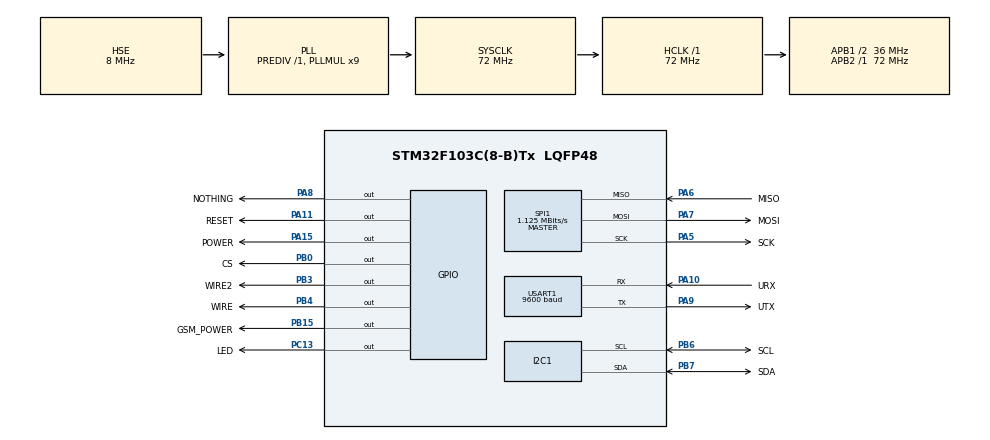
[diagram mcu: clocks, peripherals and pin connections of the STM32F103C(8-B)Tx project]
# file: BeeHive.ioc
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I2C1.I2C_Mode=I2C_Fast
Mcu.Family=STM32F1
Mcu.Name=STM32F103C(8-B)Tx
Mcu.Package=LQFP48
NVIC.I2C1_ER_IRQn=true\:0\:0\:false\:false\:true\:true\:true\:true
NVIC.I2C1_EV_IRQn=true\:0\:0\:false\:false\:true\:true\:true\:true
NVIC.PriorityGroup=NVIC_PRIORITYGROUP_4
NVIC.RTC_IRQn=true\:0\:0\:false\:false\:true\:true\:true\:true
NVIC.SPI1_IRQn=true\:0\:0\:false\:false\:true\:true\:true\:true
NVIC.TIM4_IRQn=true\:0\:0\:false\:false\:true\:true\:true\:true
NVIC.USART1_IRQn=true\:0\:0\:false\:false\:true\:true\:true\:true
PA10.GPIO_Label=URX
PA10.Mode=Asynchronous
PA10.Signal=USART1_RX
PA11.GPIO_Label=RESET
PA11.Signal=GPIO_Output
PA13.Mode=Serial_Wire
PA13.Signal=SYS_JTMS-SWDIO
PA14.Mode=Serial_Wire
PA14.Signal=SYS_JTCK-SWCLK
PA15.GPIO_Label=POWER
PA15.Signal=GPIO_Output
PA5.GPIO_Label=SCK
PA5.Mode=Full_Duplex_Master
PA5.Signal=SPI1_SCK
PA6.GPIO_Label=MISO
PA6.Mode=Full_Duplex_Master
PA6.Signal=SPI1_MISO
PA7.GPIO_Label=MOSI
PA7.Mode=Full_Duplex_Master
PA7.Signal=SPI1_MOSI
PA8.GPIO_Label=NOTHING
PA8.GPIO_PuPd=GPIO_PULLUP
PA8.PinState=GPIO_PIN_SET
PA8.Signal=GPIO_Output
PA9.GPIO_Label=UTX
PA9.Mode=Asynchronous
PA9.Signal=USART1_TX
PB0.GPIO_Label=CS
PB0.Signal=GPIO_Output
PB15.GPIO_Label=GSM_POWER
PB15.GPIO_ModeDefaultOutputPP=GPIO_MODE_OUTPUT_PP
PB15.GPIO_PuPd=GPIO_NOPULL
PB15.GPIO_Speed=GPIO_SPEED_FREQ_MEDIUM
PB15.PinState=GPIO_PIN_RESET
PB15.Signal=GPIO_Output
PB3.GPIO_Label=WIRE2
PB3.Signal=GPIO_Output
PB4.GPIO_Label=WIRE
PB4.Signal=GPIO_Output
PB6.GPIO_Label=SCL
PB6.Mode=I2C
PB6.Signal=I2C1_SCL
PB7.GPIO_Label=SDA
PB7.Mode=I2C
PB7.Signal=I2C1_SDA
PC13-TAMPER-RTC.GPIO_Label=LED
PC13-TAMPER-RTC.Signal=GPIO_Output
PC14-OSC32_IN.Mode=LSE-External-Oscillator
PC14-OSC32_IN.Signal=RCC_OSC32_IN
PC15-OSC32_OUT.Mode=LSE-External-Oscillator
PC15-OSC32_OUT.Signal=RCC_OSC32_OUT
PD0-OSC_IN.Mode=HSE-External-Oscillator
PD0-OSC_IN.Signal=RCC_OSC_IN
PD1-OSC_OUT.Mode=HSE-External-Oscillator
PD1-OSC_OUT.Signal=RCC_OSC_OUT
ProjectManager.HeapSize=0x200
ProjectManager.StackSize=0x400
ProjectManager.TargetToolchain=MDK-ARM V5.32
RCC.AHBFreq_Value=72000000
RCC.APB1CLKDivider=RCC_HCLK_DIV2
RCC.APB1Freq_Value=36000000
RCC.APB1TimFreq_Value=72000000
RCC.APB2Freq_Value=72000000
RCC.APB2TimFreq_Value=72000000
RCC.HCLKFreq_Value=72000000
RCC.PLLMUL=RCC_PLL_MUL9
RCC.PLLSourceVirtual=RCC_PLLSOURCE_HSE
RCC.RTCClockSelection=RCC_RTCCLKSOURCE_LSE
RCC.SYSCLKFreq_VALUE=72000000
RCC.SYSCLKSource=RCC_SYSCLKSOURCE_PLLCLK
RCC.USBFreq_Value=72000000
SPI1.BaudRatePrescaler=SPI_BAUDRATEPRESCALER_64
SPI1.CalculateBaudRate=1.125 MBits/s
SPI1.Direction=SPI_DIRECTION_2LINES
SPI1.Mode=SPI_MODE_MASTER
SPI1.VirtualType=VM_MASTER
TIM4.ClockDivision=TIM_CLOCKDIVISION_DIV4
TIM4.Period=17999
USART1.BaudRate=9600
USART1.VirtualMode=VM_ASYNC
VP_RTC_VS_RTC_Activate.Mode=RTC_Enabled
VP_RTC_VS_RTC_Calendar.Mode=RTC_Calendar
VP_TIM4_VS_ClockSourceINT.Mode=Internal
board=custom

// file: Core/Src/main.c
/* USER CODE BEGIN Header */
/**
  ******************************************************************************
  * @file           : main.c
  * @brief          : Main program body
  ******************************************************************************
  * @attention
  *
  * Copyright (c) 2024 STMicroelectronics.
  * All rights reserved.
  *
  * This software is licensed under terms that can be found in the LICENSE file
  * in the root directory of this software component.
  * If no LICENSE file comes with this software, it is provided AS-IS.
  *
  ******************************************************************************
  */
/* USER CODE END Header */
#include "main.h"

/* USER CODE BEGIN Includes */
#include <string.h>
#include <stdio.h>
#include "led.h"
#include "sim800.h"
#include "macros.h"
#include "error_handler.h"
#include "flash.h"
#include "ssd1306.h"
#include "fonts.h"
#include "ControllerSendData.h"
#include "ControllerIndication.h"
/* USER CODE END Includes */

/* USER CODE BEGIN PTD */
typedef struct
{
    uint8_t head[4];
    Info_t  info;
    uint16_t checkSum;
} Config_t;
/* USER CODE END PTD */

I2C_HandleTypeDef hi2c1;

RTC_HandleTypeDef hrtc;

SPI_HandleTypeDef hspi1;

TIM_HandleTypeDef htim4;

UART_HandleTypeDef huart1;

/* USER CODE BEGIN PV */
Config_t config;

static const uint32_t version = 230610;

static struct
{
    uint8_t resetOrPowerOff;
} context = {
    .resetOrPowerOff = 0,
};

/* USER CODE END PV */

void SystemClock_Config(void);
static void MX_GPIO_Init(void);
static void MX_I2C1_Init(void);
static void MX_RTC_Init(void);
static void MX_SPI1_Init(void);
static void MX_TIM4_Init(void);
static void MX_USART1_UART_Init(void);
/* USER CODE BEGIN PFP */
static uint16_t getChecksum(void* buffer, uint32_t len);
/* USER CODE END PFP */

int main(void)
{

  /* USER CODE BEGIN 1 */
   UNUSED(version);
  /* USER CODE END 1 */

  /* MCU Configuration--------------------------------------------------------*/

  /* Reset of all peripherals, Initializes the Flash interface and the Systick. */
  HAL_Init();

  /* USER CODE BEGIN Init */
  SystemClock_Config();
  ControllerSendData_Config(&config.info);
  MX_GPIO_Init();
  Led_Init();
  MX_TIM4_Init();
  Flash_Init();
  /* USER CODE END Init */

  /* Configure the system clock */
  SystemClock_Config();

  /* Initialize all configured peripherals */
  MX_GPIO_Init();
  MX_I2C1_Init();
  MX_RTC_Init();
  MX_SPI1_Init();
  MX_TIM4_Init();
  MX_USART1_UART_Init();
  /* USER CODE BEGIN 2 */
  Led_SetMode(LM_Started);

  SSD1306_Init(); // initialize the display
  HAL_GPIO_WritePin(GSM_POWER_GPIO_Port, GSM_POWER_Pin, GPIO_PIN_SET);
  SIM800_Config();

  if (!Flash_Read(&config, 0, sizeof(config)))
      Led_SetMode(LM_Error);
  if (memcmp(config.head, "CONF", 4) || config.checkSum != getChecksum(&config, sizeof(config)-2))
  {
      Led_SetMode(LM_Warning);
      memcpy(config.head, "CONF", 4);
      ControllerSendData_StartMemoryInit();
      config.checkSum = getChecksum(&config, sizeof(config)-2);
      Flash_Write(&config, 0, sizeof(config));
  }
  HAL_Delay(1100);
  ControllerSendData_Init();

  /* USER CODE END 2 */

  /* Infinite loop */
  while (1)
  {

  }
}

void SystemClock_Config(void)
{
  RCC_OscInitTypeDef RCC_OscInitStruct = {0};
  RCC_ClkInitTypeDef RCC_ClkInitStruct = {0};
  RCC_PeriphCLKInitTypeDef PeriphClkInit = {0};

  /** Initializes the RCC Oscillators according to the specified parameters
  * in the RCC_OscInitTypeDef structure.
  */
  RCC_OscInitStruct.OscillatorType = RCC_OSCILLATORTYPE_HSE|RCC_OSCILLATORTYPE_LSE;
  RCC_OscInitStruct.HSEState = RCC_HSE_ON;
  RCC_OscInitStruct.HSEPredivValue = RCC_HSE_PREDIV_DIV1;
  RCC_OscInitStruct.LSEState = RCC_LSE_ON;
  RCC_OscInitStruct.HSIState = RCC_HSI_ON;
  RCC_OscInitStruct.PLL.PLLState = RCC_PLL_ON;
  RCC_OscInitStruct.PLL.PLLSource = RCC_PLLSOURCE_HSE;
  RCC_OscInitStruct.PLL.PLLMUL = RCC_PLL_MUL9;
  if (HAL_RCC_OscConfig(&RCC_OscInitStruct) != HAL_OK)
  {
    Error_Handler();
  }

  /** Initializes the CPU, AHB and APB buses clocks
  */
  RCC_ClkInitStruct.ClockType = RCC_CLOCKTYPE_HCLK|RCC_CLOCKTYPE_SYSCLK
                              |RCC_CLOCKTYPE_PCLK1|RCC_CLOCKTYPE_PCLK2;
  RCC_ClkInitStruct.SYSCLKSource = RCC_SYSCLKSOURCE_PLLCLK;
  RCC_ClkInitStruct.AHBCLKDivider = RCC_SYSCLK_DIV1;
  RCC_ClkInitStruct.APB1CLKDivider = RCC_HCLK_DIV2;
  RCC_ClkInitStruct.APB2CLKDivider = RCC_HCLK_DIV1;

  if (HAL_RCC_ClockConfig(&RCC_ClkInitStruct, FLASH_LATENCY_2) != HAL_OK)
  {
    Error_Handler();
  }
  PeriphClkInit.PeriphClockSelection = RCC_PERIPHCLK_RTC;
  PeriphClkInit.RTCClockSelection = RCC_RTCCLKSOURCE_LSE;
  if (HAL_RCCEx_PeriphCLKConfig(&PeriphClkInit) != HAL_OK)
  {
    Error_Handler();
  }
}

static void MX_I2C1_Init(void)
{

  hi2c1.Instance = I2C1;
  hi2c1.Init.ClockSpeed = 400000;
  hi2c1.Init.DutyCycle = I2C_DUTYCYCLE_2;
  hi2c1.Init.OwnAddress1 = 0;
  hi2c1.Init.AddressingMode = I2C_ADDRESSINGMODE_7BIT;
  hi2c1.Init.DualAddressMode = I2C_DUALADDRESS_DISABLE;
  hi2c1.Init.OwnAddress2 = 0;
  hi2c1.Init.GeneralCallMode = I2C_GENERALCALL_DISABLE;
  hi2c1.Init.NoStretchMode = I2C_NOSTRETCH_DISABLE;
  if (HAL_I2C_Init(&hi2c1) != HAL_OK)
  {
    Error_Handler();
  }

}

static void MX_RTC_Init(void)
{

  RTC_TimeTypeDef sTime = {0};
  RTC_DateTypeDef DateToUpdate = {0};

  /** Initialize RTC Only
  */
  hrtc.Instance = RTC;
  hrtc.Init.AsynchPrediv = RTC_AUTO_1_SECOND;
  hrtc.Init.OutPut = RTC_OUTPUTSOURCE_ALARM;
  if (HAL_RTC_Init(&hrtc) != HAL_OK)
  {
    Error_Handler();
  }

  /** Initialize RTC and set the Time and Date
  */
  sTime.Hours = 0x0;
  sTime.Minutes = 0x0;
  sTime.Seconds = 0x0;

  if (HAL_RTC_SetTime(&hrtc, &sTime, RTC_FORMAT_BCD) != HAL_OK)
  {
    Error_Handler();
  }
  DateToUpdate.WeekDay = RTC_WEEKDAY_MONDAY;
  DateToUpdate.Month = RTC_MONTH_JANUARY;
  DateToUpdate.Date = 0x1;
  DateToUpdate.Year = 0x0;

  if (HAL_RTC_SetDate(&hrtc, &DateToUpdate, RTC_FORMAT_BCD) != HAL_OK)
  {
    Error_Handler();
  }

}

static void MX_SPI1_Init(void)
{

  /* SPI1 parameter configuration*/
  hspi1.Instance = SPI1;
  hspi1.Init.Mode = SPI_MODE_MASTER;
  hspi1.Init.Direction = SPI_DIRECTION_2LINES;
  hspi1.Init.DataSize = SPI_DATASIZE_8BIT;
  hspi1.Init.CLKPolarity = SPI_POLARITY_LOW;
  hspi1.Init.CLKPhase = SPI_PHASE_1EDGE;
  hspi1.Init.NSS = SPI_NSS_SOFT;
  hspi1.Init.BaudRatePrescaler = SPI_BAUDRATEPRESCALER_64;
  hspi1.Init.FirstBit = SPI_FIRSTBIT_MSB;
  hspi1.Init.TIMode = SPI_TIMODE_DISABLE;
  hspi1.Init.CRCCalculation = SPI_CRCCALCULATION_DISABLE;
  hspi1.Init.CRCPolynomial = 10;
  if (HAL_SPI_Init(&hspi1) != HAL_OK)
  {
    Error_Handler();
  }

}

static void MX_TIM4_Init(void)
{

  TIM_ClockConfigTypeDef sClockSourceConfig = {0};
  TIM_MasterConfigTypeDef sMasterConfig = {0};

  htim4.Instance = TIM4;
  htim4.Init.Prescaler = 0;
  htim4.Init.CounterMode = TIM_COUNTERMODE_UP;
  htim4.Init.Period = 17999;
  htim4.Init.ClockDivision = TIM_CLOCKDIVISION_DIV4;
  htim4.Init.AutoReloadPreload = TIM_AUTORELOAD_PRELOAD_DISABLE;
  if (HAL_TIM_Base_Init(&htim4) != HAL_OK)
  {
    Error_Handler();
  }
  sClockSourceConfig.ClockSource = TIM_CLOCKSOURCE_INTERNAL;
  if (HAL_TIM_ConfigClockSource(&htim4, &sClockSourceConfig) != HAL_OK)
  {
    Error_Handler();
  }
  sMasterConfig.MasterOutputTrigger = TIM_TRGO_RESET;
  sMasterConfig.MasterSlaveMode = TIM_MASTERSLAVEMODE_DISABLE;
  if (HAL_TIMEx_MasterConfigSynchronization(&htim4, &sMasterConfig) != HAL_OK)
  {
    Error_Handler();
  }

}

static void MX_USART1_UART_Init(void)
{

  huart1.Instance = USART1;
  huart1.Init.BaudRate = 9600;
  huart1.Init.WordLength = UART_WORDLENGTH_8B;
  huart1.Init.StopBits = UART_STOPBITS_1;
  huart1.Init.Parity = UART_PARITY_NONE;
  huart1.Init.Mode = UART_MODE_TX_RX;
  huart1.Init.HwFlowCtl = UART_HWCONTROL_NONE;
  huart1.Init.OverSampling = UART_OVERSAMPLING_16;
  if (HAL_UART_Init(&huart1) != HAL_OK)
  {
    Error_Handler();
  }

}

static void MX_GPIO_Init(void)
{
  GPIO_InitTypeDef GPIO_InitStruct = {0};

  /* GPIO Ports Clock Enable */
  __HAL_RCC_GPIOC_CLK_ENABLE();
  __HAL_RCC_GPIOD_CLK_ENABLE();
  __HAL_RCC_GPIOA_CLK_ENABLE();
  __HAL_RCC_GPIOB_CLK_ENABLE();

  /*Configure GPIO pin Output Level */
  HAL_GPIO_WritePin(LED_GPIO_Port, LED_Pin, GPIO_PIN_RESET);

  /*Configure GPIO pin Output Level */
  HAL_GPIO_WritePin(GPIOB, CS_Pin|GSM_POWER_Pin|WIRE2_Pin|WIRE_Pin, GPIO_PIN_RESET);

  /*Configure GPIO pin Output Level */
  HAL_GPIO_WritePin(NOTHING_GPIO_Port, NOTHING_Pin, GPIO_PIN_SET);

  /*Configure GPIO pin Output Level */
  HAL_GPIO_WritePin(GPIOA, RESET_Pin|POWER_Pin, GPIO_PIN_RESET);

  /*Configure GPIO pin : LED_Pin */
  GPIO_InitStruct.Pin = LED_Pin;
  GPIO_InitStruct.Mode = GPIO_MODE_OUTPUT_PP;
  GPIO_InitStruct.Pull = GPIO_NOPULL;
  GPIO_InitStruct.Speed = GPIO_SPEED_FREQ_LOW;
  HAL_GPIO_Init(LED_GPIO_Port, &GPIO_InitStruct);

  /*Configure GPIO pins : CS_Pin WIRE2_Pin WIRE_Pin */
  GPIO_InitStruct.Pin = CS_Pin|WIRE2_Pin|WIRE_Pin;
  GPIO_InitStruct.Mode = GPIO_MODE_OUTPUT_PP;
  GPIO_InitStruct.Pull = GPIO_NOPULL;
  GPIO_InitStruct.Speed = GPIO_SPEED_FREQ_LOW;
  HAL_GPIO_Init(GPIOB, &GPIO_InitStruct);

  /*Configure GPIO pin : GSM_POWER_Pin */
  GPIO_InitStruct.Pin = GSM_POWER_Pin;
  GPIO_InitStruct.Mode = GPIO_MODE_OUTPUT_PP;
  GPIO_InitStruct.Pull = GPIO_NOPULL;
  GPIO_InitStruct.Speed = GPIO_SPEED_FREQ_MEDIUM;
  HAL_GPIO_Init(GSM_POWER_GPIO_Port, &GPIO_InitStruct);

  /*Configure GPIO pin : NOTHING_Pin */
  GPIO_InitStruct.Pin = NOTHING_Pin;
  GPIO_InitStruct.Mode = GPIO_MODE_OUTPUT_PP;
  GPIO_InitStruct.Pull = GPIO_PULLUP;
  GPIO_InitStruct.Speed = GPIO_SPEED_FREQ_LOW;
  HAL_GPIO_Init(NOTHING_GPIO_Port, &GPIO_InitStruct);

  /*Configure GPIO pins : RESET_Pin POWER_Pin */
  GPIO_InitStruct.Pin = RESET_Pin|POWER_Pin;
  GPIO_InitStruct.Mode = GPIO_MODE_OUTPUT_PP;
  GPIO_InitStruct.Pull = GPIO_NOPULL;
  GPIO_InitStruct.Speed = GPIO_SPEED_FREQ_LOW;
  HAL_GPIO_Init(GPIOA, &GPIO_InitStruct);

}

/* USER CODE BEGIN 4 */
static uint16_t getChecksum(void* buffer, uint32_t len)
{
    uint16_t result = 0;
    for(uint32_t z=0;z<len/2;z++)
        result ^= ((uint16_t*)buffer)[z] + z;
    if (len%2)
        result ^= ((uint8_t*)buffer)[len-1]+len;
    return result;
}

/* USER CODE END 4 */

//void Error_Handler(void)
//{
//  /* USER CODE BEGIN Error_Handler_Debug */
////  /* User can add his own implementation to report the HAL error return state */
////  Led_SetMode(LM_Error);
////  __disable_irq();
////  while (1)
////  {
////  }
//  /* USER CODE END Error_Handler_Debug */
//}
